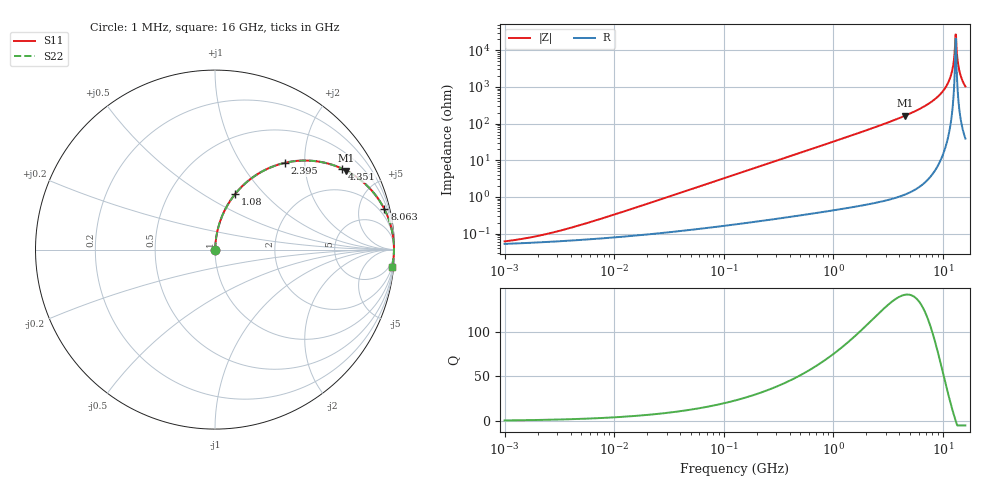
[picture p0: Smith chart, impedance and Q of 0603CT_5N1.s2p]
# MHz  S  MA  R  50
!Freq  MagS11  AngS11  MagS21  AngS21  MagS12  AngS12  MagS22  AngS22
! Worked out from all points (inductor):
!   974 points, 1 MHz to 16 GHz, reference 50 ohm
!   read as one part in series: L = 5.1 nH near 6.756 MHz
!   highest Q = 141 at 4.528 GHz (marker M1), where L = 5.8 nH
!   self-resonance near 13 GHz
!   S11 on the Smith chart (normalised r, x): 1 MHz: 1.00, +0.00; 1.08 GHz: 1.01, +0.70; 2.395 GHz: 1.01, +1.59; 4.351 GHz: 1.02, +3.14; 8.063 GHz: 1.09, +8.35; 16 GHz: 2, -20
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1  0.0006122 31.5  0.9995 -0.0  0.9995 -0.0  0.0006122 31.5
2.13022  0.000894 49.7  0.9994 -0.0  0.9994 -0.0  0.000894 49.7
5.06272  0.001756 67.3  0.9993 -0.1  0.9993 -0.1  0.001756 67.3
25.37736  0.008186 82.4  0.999 -0.5  0.999 -0.5  0.008186 82.4
127.2064  0.0407 85.2  0.9974 -2.3  0.9974 -2.3  0.0407 85.2
637.6342  0.2 77.5  0.9764 -11.5  0.9764 -11.5  0.2 77.5
1080.449  0.3279 70.1  0.9405 -19.1  0.9405 -19.1  0.3279 70.1
2395.048  0.6193 51.2  0.7798 -38.3  0.7798 -38.3  0.6193 51.2
3196.201  0.7339 42.3  0.6737 -47.2  0.6737 -47.2  0.7339 42.3
4351.077  0.8405 32.4  0.5359 -57.2  0.5359 -57.2  0.8405 32.4
4527.748  0.8524 31.1  0.5169 -58.5  0.5169 -58.5  0.8524 31.1
8063.469  0.9702 13.4  0.2325 -76.0  0.2325 -76.0  0.9702 13.4
9838.964  0.9884 7.8  0.1357 -81.2  0.1357 -81.2  0.9884 7.8
11197.66  0.9948 4.2  0.07362 -83.8  0.07362 -83.8  0.9948 4.2
12005.41  0.9965 2.3  0.04039 -83.9  0.04039 -83.9  0.9965 2.3
12369.18  0.9969 1.5  0.02621 -82.5  0.02621 -82.5  0.9969 1.5
12617.8  0.9971 1.0  0.01681 -79.6  0.01681 -79.6  0.9971 1.0
13000.13  0.9971 0.1  0.003704 -39.5  0.003704 -39.5  0.9971 0.1
13394.05  0.997 -0.7  0.01221 75.4  0.01221 75.4  0.997 -0.7
13937.9  0.9964 -1.8  0.03097 82.5  0.03097 82.5  0.9964 -1.8
14360.24  0.9958 -2.6  0.04515 83.4  0.04515 83.4  0.9958 -2.6
16000  0.9916 -5.5  0.09673 82.3  0.09673 82.3  0.9916 -5.5
